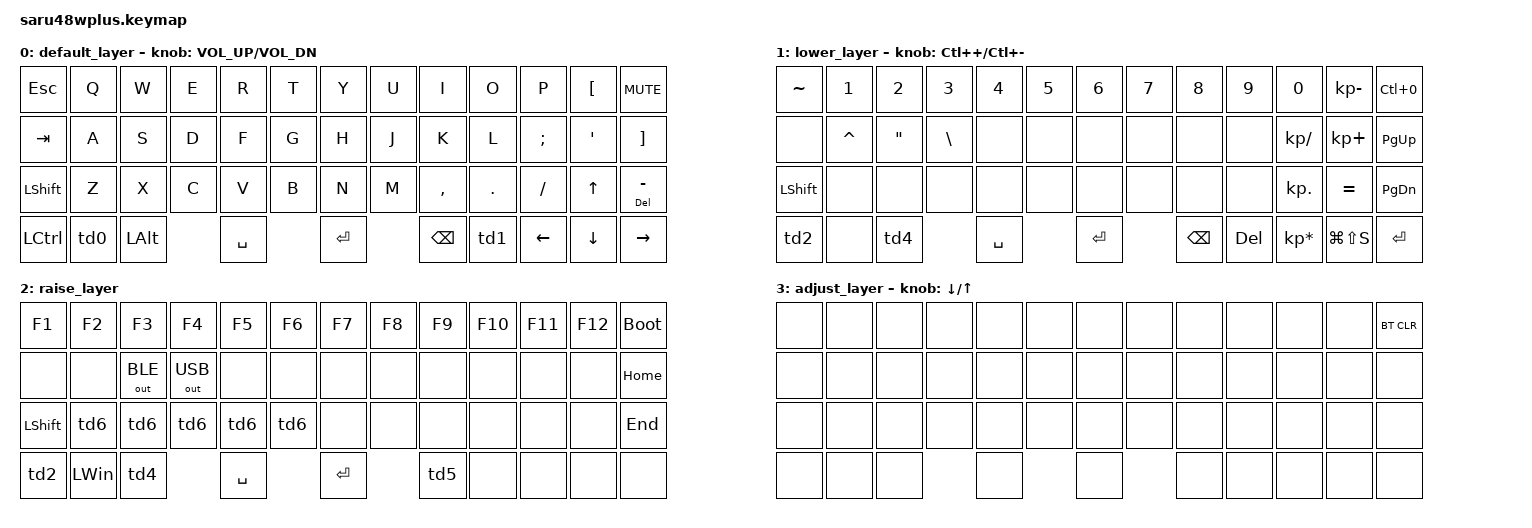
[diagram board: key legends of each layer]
/*
 * Copyright (c) 2023 Salvatore La Bua
 *
 * SPDX-License-Identifier: MIT
 */

#include <behaviors.dtsi>
#include <dt-bindings/zmk/bt.h>
#include <dt-bindings/zmk/keys.h>
#include <dt-bindings/zmk/outputs.h>

/* Layers */

#define DEFAULT 0
#define LOWER   1
#define RAISE   2
#define ADJUST  3

/ {
    combos {
        compatible = "zmk,combos";

        combo_ret {
            timeout-ms = <50>;
            key-positions = <24 25>;
            bindings = <&kp RET>;
            layers = <DEFAULT>;
        };

        combo_bsp {
            timeout-ms = <50>;
            key-positions = <10 11>;
            bindings = <&kp BSPC>;
            layers = <DEFAULT>;
        };

        combo_adj {
            bindings = <&mo ADJUST>;
            key-positions = <48 38>;
            timeout-ms = <50>;
            layers = <3>;
        };
    };

    behaviors {
        td0: Lower_LGUI {
            compatible = "zmk,behavior-tap-dance";
            #binding-cells = <0>;
            tapping-term-ms = <300>;
            bindings = <&mo LOWER>, <&kp LWIN>;
        };

        td1: Raise_RALT {
            compatible = "zmk,behavior-tap-dance";
            #binding-cells = <0>;
            tapping-term-ms = <200>;
            bindings = <&mo RAISE>, <&kp RALT>;
        };

        td2: LALT_RGUI {
            compatible = "zmk,behavior-tap-dance";
            #binding-cells = <0>;
            tapping-term-ms = <200>;
            bindings = <&kp LALT>, <&kp RWIN>;
        };

        td3: LSFT_SysREQ {
            compatible = "zmk,behavior-tap-dance";
            #binding-cells = <0>;
            tapping-term-ms = <200>;
            bindings = <&kp LSHIFT>, <&kp SYSREQ>;
        };

        td4: LCTRL_APP {
            compatible = "zmk,behavior-tap-dance";
            #binding-cells = <0>;
            tapping-term-ms = <200>;
            bindings = <&kp LCTRL>, <&kp K_APP>;
        };

        td5: BSPC_DEL {
            compatible = "zmk,behavior-tap-dance";
            #binding-cells = <0>;
            tapping-term-ms = <150>;
            bindings = <&kp BSPC>, <&kp DEL>;
        };

        td6: BT0_DISC0 {
            compatible = "zmk,behavior-tap-dance";
            #binding-cells = <0>;
            tapping-term-ms = <200>;
            bindings = <&bt BT_SEL 0>, <&bt BT_DISC 0>;
        };

        td7: BT1_DISC1 {
            compatible = "zmk,behavior-tap-dance";
            #binding-cells = <0>;
            tapping-term-ms = <200>;
            bindings = <&bt BT_SEL 1>, <&bt BT_DISC 1>;
        };

        td8: BT2_DISC2 {
            compatible = "zmk,behavior-tap-dance";
            #binding-cells = <0>;
            tapping-term-ms = <200>;
            bindings = <&bt BT_SEL 2>, <&bt BT_DISC 2>;
        };

        td9: BT3_DISC3 {
            compatible = "zmk,behavior-tap-dance";
            #binding-cells = <0>;
            tapping-term-ms = <200>;
            bindings = <&bt BT_SEL 3>, <&bt BT_DISC 3>;
        };

        td10: BT4_DISC4 {
            compatible = "zmk,behavior-tap-dance";
            #binding-cells = <0>;
            tapping-term-ms = <200>;
            bindings = <&bt BT_SEL 4>, <&bt BT_DISC 4>;
        };

        ht0: hold_tap_0 {
            compatible = "zmk,behavior-hold-tap";
            bindings = <&kp>, <&kp>;

            #binding-cells = <2>;
            tapping-term-ms = <200>;
            #quick-tap-ms = <200>;
            require-prior-idle-ms = <125>;
        };
    };

    keymap {
        compatible = "zmk,keymap";

        default_layer {
            // -----------------------------------------------------------------------------------------------------------------------------------
            // |   ESC   |    Q    |    W    |    E    |    R    |    T    |    Y    |    U    |    I    |    O    |    P    |    -    |  MUTE   |
            // |   TAB   |    A    |    S    |    D    |    F    |    G    |    H    |    J    |    K    |    L    |    ;    |    '    |  PRINT  |
            // |LSHF/SYSR|    Z    |    X    |    C    |    V    |    B    |    N    |    M    |    ,    |    .    |    /    |   UP    |RSHFT/DEL|
            // |LALT/RWIN|LOWR/LWIN|LCTRL/APP|         |  SPACE  |         | RETURN  |         |  BKSPC  |RAIS/RALT|  LEFT   |  DOWN   |  RIGHT  |
            // -----------------------------------------------------------------------------------------------------------------------------------

            bindings = <
&kp ESC         &kp Q  &kp W     &kp E  &kp R      &kp T  &kp Y    &kp U  &kp I          &kp O    &kp P     &kp LEFT_BRACKET  &kp C_MUTE
&kp TAB         &kp A  &kp S     &kp D  &kp F      &kp G  &kp H    &kp J  &kp K          &kp L    &kp SEMI  &kp SQT           &kp RIGHT_BRACKET
&kp LEFT_SHIFT  &kp Z  &kp X     &kp C  &kp V      &kp B  &kp N    &kp M  &kp COMMA      &kp DOT  &kp FSLH  &kp UP            &ht0 DELETE MINUS
&kp LCTRL       &td0   &kp LALT         &kp SPACE         &kp RET         &kp BACKSPACE  &td1     &kp LEFT  &kp DOWN          &kp RIGHT
            >;

            sensor-bindings = <&inc_dec_kp C_VOL_UP C_VOL_DN>;
        };

        lower_layer {
            // -----------------------------------------------------------------------------------------------------------------------------------
            // |         |    !    |    @    |    #    |    $    |    (    |    )    |    7    |    8    |    9    |    *    |    -    |ZOOMRESET|
            // |    |    |    ^    |    &    |    *    |    %    |    [    |    ]    |    4    |    5    |    6    |    /    |    +    |  PgUP   |
            // | LSHIFT  |         |         |         |         |         |    0    |    1    |    2    |    3    |    .    |    =    |  PgDN   |
            // |LALT/RWIN|  XXXXX  |LCTRL/APP|         |  SPACE  |         | RETURN  |         |   DEL   |  RALT   |         |         | RETURN  |
            // -----------------------------------------------------------------------------------------------------------------------------------

            bindings = <
&kp TILDE   &kp N1     &kp N2   &kp N3         &kp N4     &kp N5  &kp N6   &kp N7  &kp N8         &kp N9   &kp N0           &kp KP_MINUS   &kp LC(N0)
&none       &kp CARET  &kp DQT  &kp BACKSLASH  &none      &none   &none    &none   &none          &none    &kp KP_SLASH     &kp KP_PLUS    &kp PG_UP
&kp LSHIFT  &none      &none    &none          &none      &none   &none    &none   &none          &none    &kp KP_DOT       &kp EQUAL      &kp PG_DN
&td2        &none      &td4                    &kp SPACE          &kp RET          &kp BACKSPACE  &kp DEL  &kp KP_MULTIPLY  &kp LG(LS(S))  &kp RET
            >;

            sensor-bindings = <&inc_dec_kp LC(PLUS) LC(MINUS)>;
        };

        raise_layer {
            // -----------------------------------------------------------------------------------------------------------------------------------
            // |   F1    |   F2    |   F3    |   F4    |   F5    |   F6    |   F7    |   F8    |   F9    |   F10   |   F11   |   F12   | BOOTLDR |
            // |         |         | OUT-BLE | OUT-USB |         |         |         |         |         |         |    `    |    ~    |  HOME   |
            // | LSHIFT  |BT1/DISC |BT2/DISC |BT3/DISC |BT4/DISC |BT5/DISC |         |         |         |         |    \    |         |   END   |
            // |LALT/RWIN|  LWIN   |LCTRL/APP|         |  SPACE  |         | RETURN  |         |         |  XXXXX  |         |         |         |
            // -----------------------------------------------------------------------------------------------------------------------------------

            bindings = <
&kp F1      &kp F2    &kp F3        &kp F4        &kp F5     &kp F6  &kp F7   &kp F8  &kp F9  &kp F10  &kp F11  &kp F12  &bootloader
&none       &none     &out OUT_BLE  &out OUT_USB  &none      &none   &none    &none   &none   &none    &none    &none    &kp HOME
&kp LSHIFT  &td6      &td6          &td6          &td6       &td6    &none    &none   &none   &none    &none    &none    &kp END
&td2        &kp LWIN  &td4                        &kp SPACE          &kp RET          &td5    &none    &none    &none    &none
            >;
        };

        adjust_layer {
            // -----------------------------------------------------------------------------------------------------------------------------------
            // |         |         |         |         |         |         |         |         |         |         |         |         | BT CLR  |
            // |         |         |         |         |         |         |         |         |         |         |         |         |         |
            // |         |         |         |         |         |         |         |         |         |         |         |         |         |
            // |         |         |         |         |         |         |         |         |         |         |         |         |         |
            // -----------------------------------------------------------------------------------------------------------------------------------

            bindings = <
&none  &none  &none  &none  &none  &none  &none  &none  &none  &none  &none  &none  &bt BT_CLR
&none  &none  &none  &none  &none  &none  &none  &none  &none  &none  &none  &none  &none
&none  &none  &none  &none  &none  &none  &none  &none  &none  &none  &none  &none  &none
&none  &none  &none         &none         &none         &none  &none  &none  &none  &none
            >;

            sensor-bindings = <&inc_dec_kp DOWN UP>;
        };
    };
};
